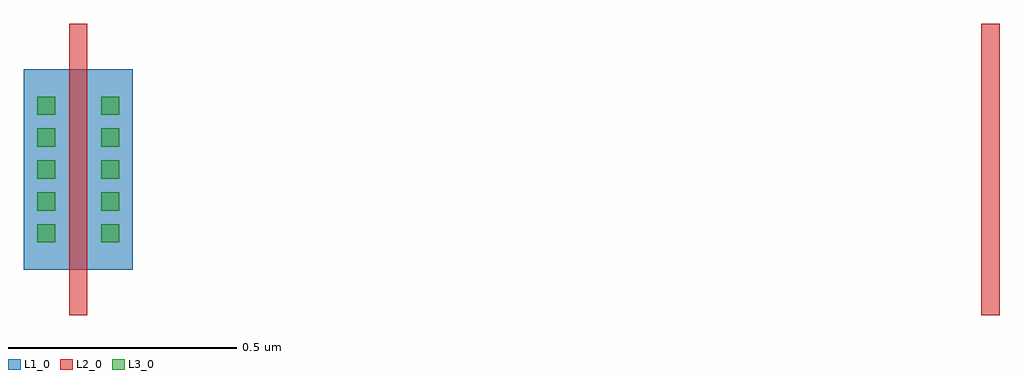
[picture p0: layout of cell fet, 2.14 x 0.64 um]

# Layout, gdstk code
import gdstk
lib = gdstk.Library(unit=1e-6, precision=5e-09)
def R(c, l, rs):  # rectangles x0, y0, x1, y1
    for r in rs: c.add(gdstk.rectangle(r[:2], r[2:], *l))
def A(c, l, x, y, w, h, nx, ny, dx, dy):  # array of equal rectangles
    R(c, l, [(x+i*dx, y+j*dy, x+i*dx+w, y+j*dy+h) for i in range(nx) for j in range(ny)])
L1_0 = (1, 0)
L2_0 = (2, 0)
L3_0 = (3, 0)

fet = lib.new_cell('fet')
R(fet, L1_0, [(-0.1,-0.44,0.14,0)])
R(fet, L2_0, [(0,-0.54,0.04,0.1), (2,-0.54,2.04,0.1)])
A(fet, L3_0, -0.07, -0.38, 0.04, 0.04, 1, 5, 0, 0.07)
A(fet, L3_0, 0.07, -0.38, 0.04, 0.04, 1, 5, 0, 0.07)

lib.write_gds('fet.gds')
